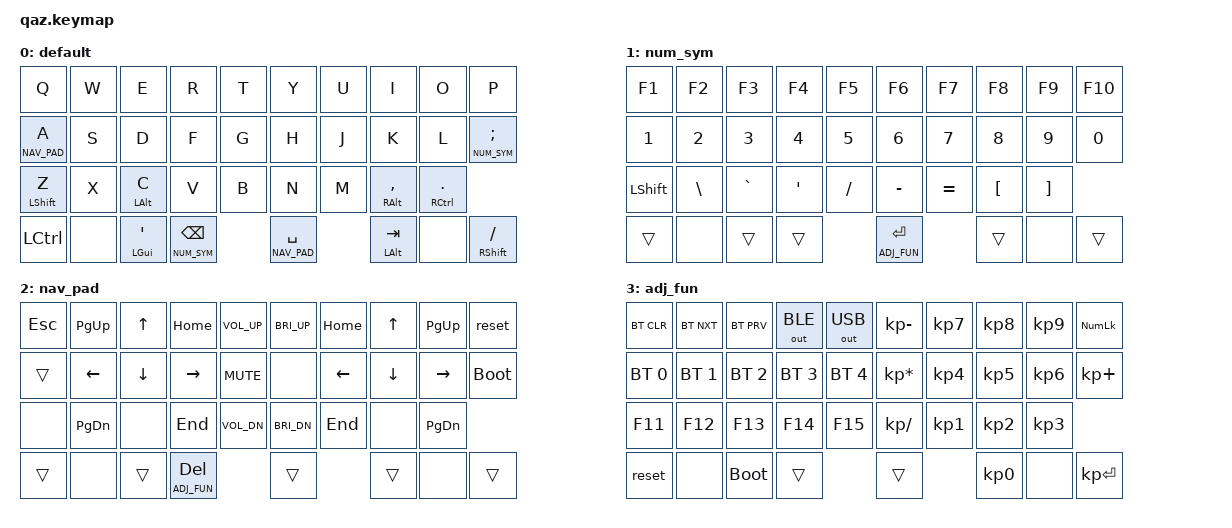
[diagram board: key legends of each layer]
/*
 * Copyright (c) 2020 The ZMK Contributors
 *
 * SPDX-License-Identifier: MIT
 */

#include <behaviors.dtsi>
#include <dt-bindings/zmk/keys.h>
#include <dt-bindings/zmk/bt.h>
#include <dt-bindings/zmk/outputs.h>

#define DEFAULT 0
#define NUM_SYM 1
#define NAV_PAD 2
#define ADJ_FUN 3

/ {
    behaviors {
        hm: homerow_mods {
            compatible = "zmk,behavior-hold-tap";
            label = "homerow mods";
            #binding-cells = <2>;
            tapping-term-ms = <225>;
            flavor = "tap-preferred";
            bindings = <&kp>, <&kp>;
        };
    };
};

/ {
    keymap {
        compatible = "zmk,keymap";

        default {
            bindings = <
    &kp Q          &kp W          &kp E          &kp R          &kp T          &kp Y          &kp U          &kp I          &kp O          &kp P
    &lt NAV_PAD A  &kp S          &kp D          &kp F          &kp G          &kp H          &kp J          &kp K          &kp L          &lt NUM_SYM SEMI 
    &hm LSHFT Z    &kp X          &hm LALT C     &kp V          &kp B          &kp N          &kp M          &hm RALT COMMA &hm RCTRL DOT
    &kp LCTRL      &none          &hm LGUI SQT   &lt NUM_SYM BSPC              &lt NAV_PAD SPACE             &hm LALT TAB   &none          &hm RSHFT FSLH
            >;
        };
        num_sym {
            bindings = <
    &kp F1         &kp F2         &kp F3         &kp F4         &kp F5         &kp F6         &kp F7         &kp F8         &kp F9         &kp F10
    &kp N1         &kp N2         &kp N3         &kp N4         &kp N5         &kp N6         &kp N7         &kp N8         &kp N9         &kp N0
    &kp LSHFT      &kp BSLH       &kp GRAVE      &kp SQT        &kp FSLH       &kp MINUS      &kp EQUAL      &kp LBKT       &kp RBKT
    &trans         &none          &trans         &trans                        &lt ADJ_FUN ENTER             &trans         &none          &trans
            >;
        };

        nav_pad {
            bindings = <
    &kp ESC        &kp PG_UP      &kp UP         &kp HOME       &kp C_VOL_UP   &kp C_BRI_UP   &kp HOME       &kp UP         &kp PG_UP      &reset
    &trans         &kp LEFT       &kp DOWN       &kp RIGHT      &kp C_MUTE     &none          &kp LEFT       &kp DOWN       &kp RIGHT      &bootloader
    &none          &kp PG_DN      &none          &kp END        &kp C_VOL_DN   &kp C_BRI_DN   &kp END        &none          &kp PG_DN
    &trans         &none          &trans         &lt ADJ_FUN DEL               &trans                        &trans         &none          &trans
            >;
        };

        adj_fun {
            bindings = <
    &bt BT_CLR     &bt BT_NXT     &bt BT_PRV     &out OUT_BLE   &out OUT_USB  &kp KP_MINUS    &kp KP_N7      &kp KP_N8      &kp KP_N9      &kp KP_NUM
    &bt BT_SEL 0   &bt BT_SEL 1   &bt BT_SEL 2   &bt BT_SEL 3   &bt BT_SEL 4  &kp KP_ASTERISK &kp KP_N4      &kp KP_N5      &kp KP_N6      &kp KP_PLUS
    &kp F11        &kp F12        &kp F13        &kp F14        &kp F15       &kp KP_SLASH    &kp KP_N1      &kp KP_N2      &kp KP_N3
    &reset         &none          &bootloader    &trans                       &trans                         &kp KP_N0      &none          &kp KP_ENTER
            >;
        };
    };
};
